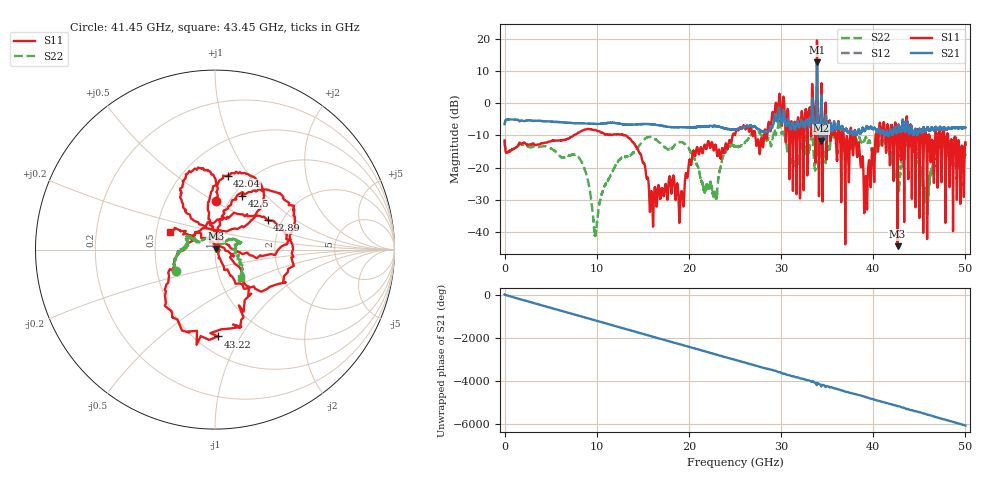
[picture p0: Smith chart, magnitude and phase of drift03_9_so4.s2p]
!Created with skrf (http://scikit-rf.org).
# Hz S RI R 50.0
!freq ReS11 ImS11 ReS21 ImS21 ReS12 ImS12 ReS22 ImS22
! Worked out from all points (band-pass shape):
!   10001 points, 300 kHz to 50 GHz, reference 50 ohm
!   highest |S21| = 12.66 dB at 33.9 GHz (marker M1); lowest = -11.6 dB at 34.32 GHz (marker M2)
!   |S21| within 3 dB of the highest: 33.89009 GHz to 33.90618 GHz (16.09 MHz wide, 0.0475 % of centre)
!   lowest |S11| = -44.3 dB at 42.64 GHz (marker M3), VSWR 1.01, Z = 50.4 + j0.487 ohm
!   |S11| at or under -10 dB: start of sweep to 7.485 GHz; 13.14 GHz to 24.74 GHz (11.6 GHz wide, 61.3 % of centre); 38.07 GHz to 40.26 GHz (2.181 GHz wide, 5.57 % of centre) (the widest 3 of 54)
!   |S22| runs from -41.1 to 5.0 dB; largest |S21 - S12| = 0.34
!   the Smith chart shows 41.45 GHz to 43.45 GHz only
!   S11 on the Smith chart (normalised r, x): 41.45 GHz: 0.87, +0.51; 42.04 GHz: 0.80, +0.80; 42.5 GHz: 1.09, +0.74; 42.89 GHz: 1.69, +0.62; 43.22 GHz: 0.64, -0.80; 43.45 GHz: 0.59, +0.13
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300000  -0.2379 -0.1155  0.4673 0.0754  0.4659 0.0757  -0.2336 -0.1187
1.440291e9  0.2101 0.0645  -0.5477 -0.0291  -0.5486 -0.0287  0.2112 -0.0043
2.915283e9  -0.2116 -0.0883  0.5341 0.0517  0.5346 0.0512  -0.2028 0.0401
8.33525e9  0.2883 -0.2334  0.147 0.4657  0.1464 0.4661  -0.0733 -0.1003
9.855241e9  -0.3612 0.1343  -0.1573 -0.449  -0.1581 -0.4491  0.00896 0.00251
1.66702e10  0.0273 0.0444  -0.3778 0.2542  -0.3785 0.2543  -0.1261 -0.2185
2.500015e10  -0.3253 -0.0143  -0.2551 -0.2962  -0.2543 -0.2976  -0.2139 0.025
2.895513e10  -0.3218 0.4326  -0.2871 0.3269  -0.2982 0.2916  0.0639 0.2194
3.006512e10  0.3961 0.2635  0.4479 -0.1968  0.4511 -0.1831  0.1712 -0.2977
3.171011e10  -0.0868 0.1888  -0.3583 0.3561  -0.3589 0.3537  0.0636 0.158
3.33351e10  0.5699 -0.7792  0.2455 -0.8129  0.2438 -0.7987  -0.1879 -0.4121
3.39001e10  3.461 -8.221  -3.876 -1.851  -3.789 -1.557  -0.6389 1.631
3.432009e10  -0.7814 0.00324  -0.1777 0.1943  -0.2385 0.1753  0.1424 -0.0677
4.144505e10  0.00612 0.2696  0.3269 0.1787  0.327 0.1758  -0.2181 -0.1178
4.167005e10  -0.191 0.2996  0.3126 0.00639  0.3119 0.0114  -0.192 -0.00875
4.203505e10  0.0698 0.4119  0.2707 -0.1974  0.2699 -0.2007  -0.1196 0.07
4.249505e10  0.15 0.3013  0.00404 -0.3453  0.00577 -0.3443  -0.0234 0.0681
4.263504e10  0.00373 0.00483  -0.1653 -0.3422  -0.166 -0.3412  -0.0177 0.0862
4.288504e10  0.2935 0.1633  -0.2716 -0.2765  -0.2735 -0.2755  0.0528 0.0425
4.321504e10  0.0159 -0.4837  -0.5296 0.0403  -0.5335 0.0285  0.121 0.0303
4.345004e10  -0.2529 0.099  -0.2797 0.2339  -0.2763 0.2333  0.144 -0.1575
5e10  -0.1387 -0.2028  0.1495 0.3879  0.1464 0.3858  -0.0548 -0.1457
